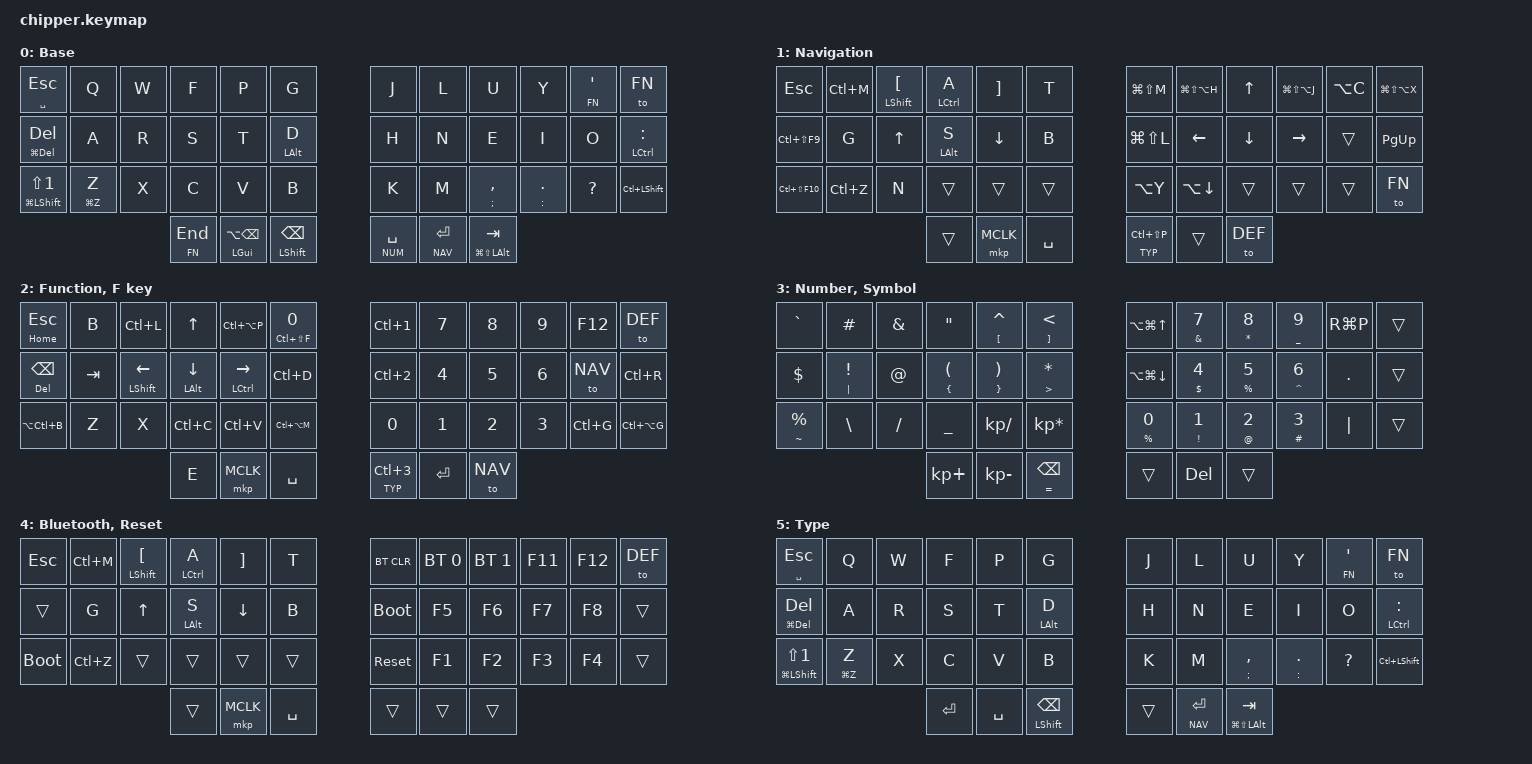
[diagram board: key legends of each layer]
#include <behaviors.dtsi>
#include <dt-bindings/zmk/keys.h>
#include <dt-bindings/zmk/bt.h>
#include <dt-bindings/zmk/outputs.h>
#include <dt-bindings/zmk/pointing.h>

#define XXX &none
#define ___ &trans

#define COMBO_TIMEOUT 60

#define DEF 0
#define NAV 1
#define FN 2
#define NUM 3
#define SYS 4
#define TYP 5

/ {
    macros {
	nayeon: nayeon {
            compatible = "zmk,behavior-macro";
            #binding-cells = <0>;
            bindings
                = <&macro_tap_time 10>
		,<&macro_tap &kp N &kp A &kp Y &kp E &kp O &kp N &kp RET>;
        };
    };
};

/ {
    combos {
        compatible = "zmk,combos";
	 combo_cw {
            timeout-ms = <COMBO_TIMEOUT>;
            key-positions = <6 30>;
            bindings = <&nayeon>;
        };
    };
};

/ {
        bht: balanced_hold_taps {
            compatible = "zmk,behavior-hold-tap";
            #binding-cells = <2>;
            tapping-term-ms = <280>;    // <---[[moderate duration]]
            flavor = "balanced";
            bindings = <&kp>, <&kp>;
            quick-tap-ms = <175>;       // repeat on tap-into-hold
            require-prior-idle-ms = <150>;
        };
    };
/ {
    conditional_layers {
        compatible = "zmk,conditional-layers";
        tri_layer {
            if-layers = <1 2>;
            then-layer = <4>;
        };
    };
};

/ {
        keymap {
                compatible = "zmk,keymap";

                DEF_layer {
                        display-name = "Base";
                        bindings = <
//╭──────╮ ╭─────────────┬─────────────┬─────────────┬─────────────┬─────────────╮   ╭─────────────┬─────────────┬─────────────┬─────────────┬─────────────╮ ╭──────╮
 &mt SPC ESC     &kp Q     &kp W       &kp F        &kp P         &kp G              &kp J         &kp L        &kp U        &kp Y        &lt FN SQT     &to FN
//├──────┤ ├─────────────┼─────────────┼─────────────┼─────────────┼─────────────┤   ├─────────────┼────────────┼────────────┼─────────────┼─────────────┤ ├──────┤
 &mt LG(DEL) DEL &kp A        &kp R       &kp S      &kp T         &bht LALT D         &kp H          &kp N       &kp E           &kp I       &kp O      &mt LCTRL COLON
//├──────┤ ├─────────────┼─────────────┼─────────────┼─────────────┼─────────────┤   ├────────────┼─────────────┼─────────────┼─────────────┼─────────────┤ ├──────┤
 &mt LG(LSHIFT) LS(N1) &mt LG(Z) Z  &kp X  &kp C        &kp V       &kp B             &kp K       &kp M     &mt SEMI COMMA &mt COLON DOT   &kp QMARK   &kp LC(LSHIFT)
//├──────┤ ╰─────────────┼─────────────┴─────────────┼─────────────┼─────────────┤   ├─────────────┼─────────────┼─────────────┴───────────────────────────╯ ├──────┤
                                             &lt FN END &mt LGUI LA(BSPC)  &mt LSHIFT BSPC   &lt NUM SPC  &lt NAV ENTER  &mt LG(LS(LALT)) TAB  
//                                            ╰────────────┼──────────────┴─────────────╯   ╰─────────────┴─────────────┼─────────────╯
                        >;
                };

                

                NAV_layer {
                        display-name = "Navigation";
                        bindings = <
//╭──────╮ ╭─────────────┬─────────────┬─────────────┬─────────────┬─────────────╮ ╭─────────────┬─────────────┬─────────────┬─────────────┬─────────────╮ ╭──────╮
  &kp ESC  &kp LC(M)  &mt LSHIFT LBKT    &mt LCTRL A    &kp RBKT     &kp T          &kp LG(LS(M)) &kp LG(LS(LA(H))) &kp UP   &kp LG(LS(LA(J))) &kp LA(C)  &kp LG(LS(LA(X)))
//├──────┤ ├─────────────┼─────────────┼─────────────┼─────────────┼───toggle────┤ ├─────────────┼─────────────┼─────────────┼─────────────┼─────────────┤ ├──────┤
  &kp LC(LS(F9))  &kp G       &kp UP      &bht LALT S  &kp DOWN      &kp B           &kp LG(LS(L)) &kp LEFT      &kp DOWN     &kp RIGHT          ___      &kp PG_UP
//├──────┤ ├─────────────┼─────────────┼─────────────┼─────────────┼─────────────┤ ├─────────────┼─────────────┼─────────────┼─────────────┼─────────────┤ ├──────┤
  &kp LC(LS(F10)) &kp LC(Z)  &kp N          ___             ___          ___        &kp LA(Y)      &kp LA(DOWN)     ___           ___          ___         &to FN
//├──────┤ ╰─────────────┼─────────────┴─────────────┼─────────────┼─────────────┤ ├─────────────┼─────────────┼─────────────┴───────────────────────────╯ ├──────┤
                                         ___           &mkp MCLK        &kp SPC     &lt TYP LC(LS(P))    ___         &to DEF
//                                      ╰────────────╰─────────────┴─────────────╯ ╰─────────────┴─────────────╯─────────────╯                                           
                        >;
                };

                FN_layer {
                        display-name = "Function, F key";
                        bindings = <
//╭──────╮ ╭─────────────┬─────────────┬─────────────┬─────────────┬─────────────╮ ╭─────────────┬─────────────┬─────────────┬─────────────┬─────────────╮ ╭──────╮
 &mt HOME ESC &kp B        &kp LC(L)    &kp UP    &kp LC(LA(P))  &bht LC(LS(F)) N0   &kp LC(N1)     &kp N7        &kp N8         &kp N9     &kp F12       &to DEF
//├──────┤ ├─────────────┼─────────────┼─────────────┼─────────────┼─────────────┤ ├─────────────┼─────────────┼─────────────┼─────────────┼─────────────┤ ├──────┤
  &bht DEL BSPC  &kp TAB &bht LSHIFT LEFT &bht LALT DOWN &bht LCTRL RIGHT  &kp LC(D)   &kp LC(N2)       &kp N4       &kp N5       &kp N6      &to NAV       &kp LC(R)
//├──────┤ ├─────────────┼─────────────┼─────────────┼─────────────┼─────────────┤ ├─────────────┼─────────────┼─────────────┼─────────────┼─────────────┤ ├──────┤
&kp LA(LC(B)) &kp Z       &kp X          &kp LC(C)        &kp LC(V)     &kp LC(LA(M))    &kp N0     &kp N1        &kp N2        &kp N3     &kp LC(G)       &kp LC(LA(G))
//├──────┤ ╰─────────────┼─────────────┴─────────────┼─────────────┼─────────────┤ ├─────────────┼─────────────┼─────────────┴───────────────────────────╯ ├──────┤
                                             &kp E     &mkp MCLK     &kp SPC         &lt TYP LC(N3)   &kp ENTER   &to NAV                                       
//                                           ╰──────╯╰─────────────┴─────────────╯ ╰─────────────┴─────────────╯╰──────╯                                           
                        >;  
		};
		
		        NUM_layer {
                        display-name = "Number, Symbol";
                        bindings = <
//╭──────╮ ╭─────────────┬─────────────┬─────────────┬─────────────┬─────────────╮ ╭──────────────┬──────────────┬─────────────┬─────────────┬─────────────╮ ╭──────╮
 &kp GRAVE  &kp HASH       &kp AMPS        &kp DQT   &bht  LBKT CARET &bht RBKT LT    &kp LA(LG(UP))  &bht AMPS   N7 &bht STAR N8   &bht UNDER N9  &kp RG(P)   ___
//├──────┤ ├─────────────┼─────────────┼─────────────┼─────────────┼─────────────┤ ├──────=!──────┼──────7+──────┼─────8-──────┼─────9_──────┼─────────────┤ ├──────┤
 &kp DLLR  &bht PIPE EXCL   &kp AT     &mt LBRC LPAR  &mt RBRC RPAR   &bht GT STAR   &kp LA(LG(DOWN)) &bht DLLR N4 &bht PRCNT N5  &bht CARET N6 &kp DOT        ___
//├──────┤ ├─────────────┼─────────────┼─────────────┼─────────────┼─────────────┤ ├──────.#──────┼─────4*───────┼──────5/─────┼──────6\─────┼─────────────┤ ├──────┤
 &bht TILDE PRCNT &kp BSLH &kp FSLH    &kp UNDER   &kp KP_DIVIDE &kp KP_MULTIPLY   &bht PRCNT N0   &bht EXCL N1   &bht AT N2    &bht HASH N3  &kp PIPE         ___
//├──────┤ ╰─────────────┼─────────────┴─────────────┼─────────────┼─────────────┤ ├──────0%──────┼──────1|──────┼─────2&──────┼──────3──────┼─────────────╯ ╰──────╯
                                         &kp KP_PLUS   &kp KP_MINUS &mt EQUAL BSPC           ___        &kp DEL        ___                                    
//                                     ╰─────────────┴─────────────┴─────────────╯ ╰──────────────┴──────────────┼─────────────╯                                     
                        >;
		};

                        		SYS_layer {
                        display-name = "Bluetooth, Reset";
                        bindings = <
//╭──────╮ ╭─────────────┬─────────────┬─────────────┬─────────────┬─────────────╮ ╭─────────────┬─────────────┬─────────────┬─────────────┬─────────────╮ ╭──────╮
    &kp ESC    &kp LC(M)    &mt LSHIFT LBKT  &mt LCTRL A   &kp  RBKT      &kp T       &bt BT_CLR  &bt BT_SEL 0  &bt BT_SEL 1       &kp F11       &kp F12     &to DEF
//├──────┤ ├─────────────┼─────────────┼─────────────┼─────────────┼─────────────┤ ├─────────────┼─────────────┼─────────────┼─────────────┼─────────────┤ ├──────┤
    ___     &kp G          &kp UP        &bht LALT S    &kp DOWN     &kp B            &bootloader   &kp F5        &kp F6         &kp F7        &kp F8         ___
//├──────┤ ├─────────────┼─────────────┼─────────────┼─────────────┼─────────────┤ ├─────────────┼─────────────┼─────────────┼─────────────┼─────────────┤ ├──────┤
 &bootloader   &kp LC(Z)  ___           ___           ___            ___          &sys_reset    &kp F1         &kp F2        &kp F3      &kp F4           ___
//├──────┤ ╰─────────────┼─────────────┴─────────────┼─────────────┼─────────────┤ ├─────────────┼─────────────┼─────────────┴───────────────────────────╯ ├──────┤
    ___                                                &mkp MCLK        &kp SPC             ___           ___                                                       ___
//╰──────╯                                           ╰─────────────┴─────────────╯ ╰─────────────┴─────────────╯                                           ╰──────╯
                        >;
		};

       

          TYP_layer {
                        display-name = "Type";
                        bindings = <
//╭──────╮ ╭─────────────┬─────────────┬─────────────┬─────────────┬─────────────╮   ╭─────────────┬─────────────┬─────────────┬─────────────┬─────────────╮ ╭──────╮
 &mt SPC ESC     &kp Q     &kp W       &kp F        &kp P         &kp G              &kp J         &kp L        &kp U        &kp Y        &lt FN SQT     &to FN
//├──────┤ ├─────────────┼─────────────┼─────────────┼─────────────┼─────────────┤   ├─────────────┼────────────┼────────────┼─────────────┼─────────────┤ ├──────┤
 &mt LG(DEL) DEL &kp A        &kp R       &kp S      &kp T         &bht LALT D         &kp H          &kp N       &kp E           &kp I       &kp O      &mt LCTRL COLON
//├──────┤ ├─────────────┼─────────────┼─────────────┼─────────────┼─────────────┤   ├────────────┼─────────────┼─────────────┼─────────────┼─────────────┤ ├──────┤
 &mt LG(LSHIFT) LS(N1) &mt LG(Z) Z  &kp X  &kp C        &kp V       &kp B             &kp K       &kp M     &mt SEMI COMMA &mt COLON DOT   &kp QMARK   &kp LC(LSHIFT)
//├──────┤ ╰─────────────┼─────────────┴─────────────┼─────────────┼─────────────┤   ├─────────────┼─────────────┼─────────────┴───────────────────────────╯ ├──────┤
                                             &kp ENTER       &kp SPC       &bht LSHIFT BSPC       ___      &lt NAV ENTER  &mt LG(LS(LALT)) TAB  
//                                            ╰────────────┼──────────────┴─────────────╯   ╰─────────────┴─────────────┼─────────────╯
                        >;
                };
                };
};
